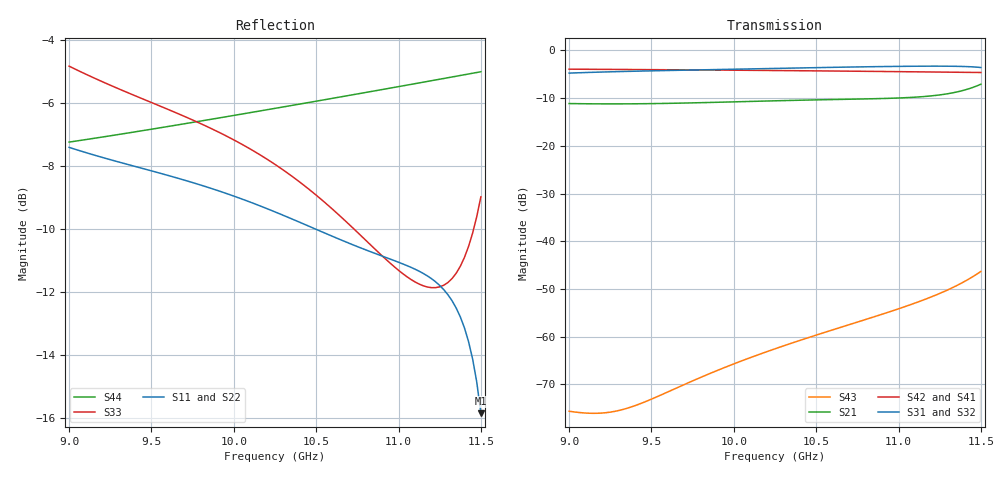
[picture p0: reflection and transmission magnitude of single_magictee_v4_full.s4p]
! Generated from PyAEDT SolutionData; AEDT ExportNetworkData workaround
# GHz S MA R 50
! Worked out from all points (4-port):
!   101 points, 9 GHz to 11.5 GHz, reference 50 ohm
!   strongest paths, dB at 9 GHz, 9.625 GHz, 10.25 GHz, 10.88 GHz, 11.5 GHz:
!     S31: -4.7, -4.2, -3.8, -3.4, -3.6
!     S32: -4.7, -4.2, -3.8, -3.4, -3.6
!     S42: -3.9, -4.0, -4.2, -4.4, -4.6
!     S41: -3.9, -4.1, -4.2, -4.4, -4.7
!     S21: -11.1, -11.1, -10.6, -10.1, -7.1
!     S43: -75.7, -71.2, -62.6, -55.6, -46.3
!   lowest |S11| = -15.9 dB at 11.5 GHz (marker M1), VSWR 1.38, Z = 45.2 + j14.8 ohm
!   |S11| at or under -10 dB: 10.5 GHz to end of sweep
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9  0.4264 13.7  0.2777 -59.1  0.5792 -11.7  0.6369 44.6
   0.2777 -59.1  0.4267 13.6  0.5791 -11.8  0.6367 -135.4
   0.5792 -11.7  0.5791 -11.8  0.5737 170.4  0.0001646 26.0
   0.6369 44.6  0.6367 -135.4  0.0001646 26.0  0.4347 -142.1
9.35  0.4009 -28.2  0.2757 -109.0  0.6034 -74.9  0.6318 5.1
      0.2757 -109.0  0.4011 -28.2  0.6032 -74.9  0.6318 -174.9
      0.6034 -74.9  0.6032 -74.9  0.5216 89.9  0.0001765 -90.8
      0.6318 5.1  0.6318 -174.9  0.0001765 -90.8  0.449 -178.9
9.725  0.3765 -71.5  0.2816 -160.4  0.6227 -140.0  0.6254 -35.8
       0.2816 -160.4  0.3765 -71.4  0.6223 -140.0  0.6259 144.1
       0.6227 -140.0  0.6223 -140.0  0.4744 7.8  0.0003282 160.5
       0.6254 -35.8  0.6259 144.1  0.0003282 160.5  0.4659 142.6
10.125  0.347 -115.7  0.2929 146.1  0.642 152.3  0.6177 -78.3
        0.2929 146.1  0.3464 -115.4  0.6414 152.3  0.6187 101.6
        0.642 152.3  0.6414 152.3  0.42 -76.3  0.0006231 68.4
        0.6177 -78.3  0.6187 101.6  0.0006231 68.4  0.4854 102.2
10.55  0.3119 -159.2  0.3046 90.1  0.6631 80.8  0.6085 -122.5
       0.3046 90.1  0.3107 -158.7  0.6622 80.8  0.6101 57.4
       0.6631 80.8  0.6622 80.8  0.349 -165.0  0.001103 -20.2
       0.6085 -122.5  0.6101 57.4  0.001103 -20.2  0.5074 59.8
11.05  0.2768 153.9  0.3203 26.5  0.6824 -5.9  0.5959 -173.5
       0.3203 26.5  0.2745 154.6  0.681 -5.8  0.5986 6.4
       0.6824 -5.9  0.681 -5.8  0.2658 86.6  0.002092 -121.2
       0.5959 -173.5  0.5986 6.4  0.002092 -121.2  0.5353 10.4
11.5  0.1612 99.3  0.4429 -32.0  0.6626 -98.6  0.5821 141.4
      0.4429 -32.0  0.1563 101.5  0.659 -98.6  0.5875 -39.2
      0.6626 -98.6  0.659 -98.6  0.3559 -4.5  0.004817 139.3
      0.5821 141.4  0.5875 -39.2  0.004817 139.3  0.5622 -33.8
